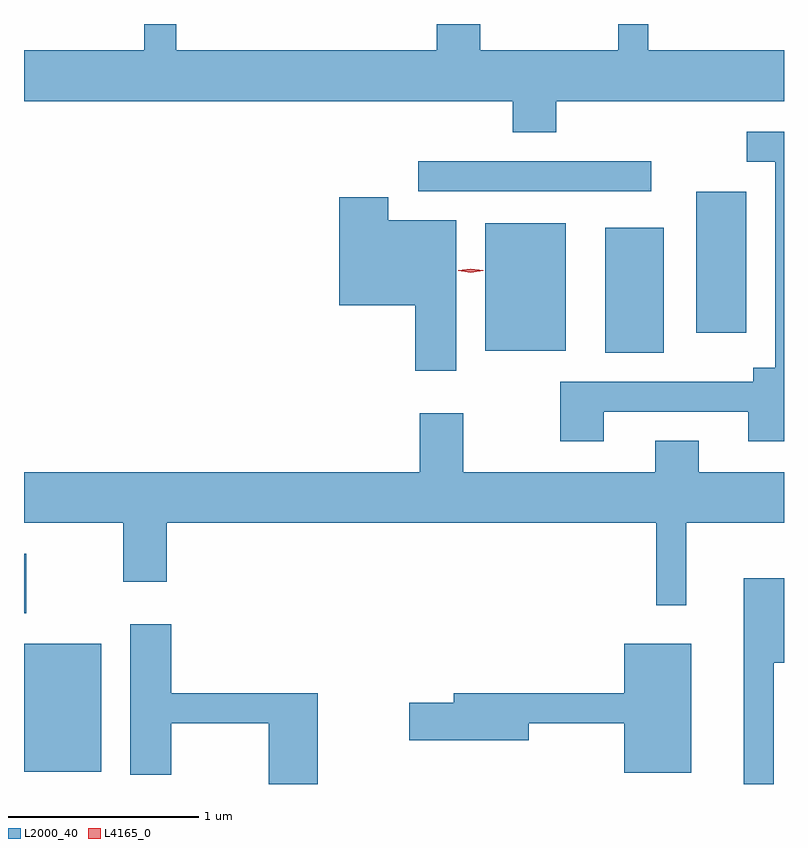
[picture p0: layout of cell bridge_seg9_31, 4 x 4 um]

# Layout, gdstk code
import gdstk
lib = gdstk.Library(unit=1e-6, precision=1e-09)
def R(c, l, rs):  # rectangles x0, y0, x1, y1
    for r in rs: c.add(gdstk.rectangle(r[:2], r[2:], *l))
def P(c, l, *ps):  # polygons
    for p in ps: c.add(gdstk.Polygon(p, *l))
L2000_40 = (2000, 40)
L4165_0 = (4165, 0)

bridge_seg9_31 = lib.new_cell('bridge_seg9_31')
R(bridge_seg9_31, L2000_40, [(1555.228,2077.086,1555.634,2077.759), (1555.228,2077.921,1555.239,2078.234), (1558.286,2079.291,1558.594,2079.949), (1557.656,2079.301,1558.079,2079.974), (1558.766,2079.396,1559.029,2080.139), (1557.303,2080.141,1558.528,2080.299)])
P(bridge_seg9_31, L2000_40, [(1558.029,2080.616),(1559.228,2080.616),(1559.228,2080.884),(1558.514,2080.884),(1558.514,2081.022),(1558.356,2081.022),(1558.356,2080.884),(1557.629,2080.884),(1557.629,2081.022),(1557.401,2081.022),(1557.401,2080.884),(1556.029,2080.884),(1556.029,2081.022),(1555.861,2081.022),(1555.861,2080.884),(1555.228,2080.884),(1555.228,2080.616),(1557.801,2080.616),(1557.801,2080.451),(1558.029,2080.451)],
  [(1558.279,2078.981),(1559.041,2078.981),(1559.041,2078.826),(1559.228,2078.826),(1559.228,2080.454),(1559.033,2080.454),(1559.033,2080.296),(1559.181,2080.296),(1559.181,2079.214),(1559.066,2079.214),(1559.066,2079.139),(1558.051,2079.139),(1558.051,2078.826),(1558.279,2078.826)],
  [(1557.504,2079.989),(1557.144,2079.989),(1557.144,2080.109),(1556.886,2080.109),(1556.886,2079.541),(1557.286,2079.541),(1557.286,2079.196),(1557.504,2079.196)],
  [(1558.714,2078.396),(1559.228,2078.396),(1559.228,2078.664),(1558.779,2078.664),(1558.779,2078.829),(1558.551,2078.829),(1558.551,2078.664),(1557.539,2078.664),(1557.539,2078.974),(1557.311,2078.974),(1557.311,2078.664),(1555.228,2078.664),(1555.228,2078.396),(1555.751,2078.396),(1555.751,2078.086),(1555.979,2078.086),(1555.979,2078.396),(1558.556,2078.396),(1558.556,2077.963),(1558.714,2077.963)],
  [(1559.174,2077.661),(1559.228,2077.661),(1559.228,2078.104),(1559.016,2078.104),(1559.016,2077.022),(1559.174,2077.022)],
  [(1556.774,2077.499),(1556.004,2077.499),(1556.004,2077.864),(1555.786,2077.864),(1555.786,2077.071),(1556.004,2077.071),(1556.004,2077.341),(1556.516,2077.341),(1556.516,2077.022),(1556.774,2077.022)],
  [(1558.739,2077.759),(1558.386,2077.759),(1558.386,2077.499),(1557.491,2077.499),(1557.491,2077.449),(1557.256,2077.449),(1557.256,2077.251),(1557.884,2077.251),(1557.884,2077.341),(1558.386,2077.341),(1558.386,2077.081),(1558.739,2077.081)])
P(bridge_seg9_31, L4165_0, [(1557.58,2079.714),(1557.514,2079.724),(1557.513,2079.724),(1557.514,2079.725),(1557.58,2079.734),(1557.646,2079.725),(1557.646,2079.724),(1557.646,2079.724)])

lib.write_gds('bridge_seg9_31.gds')
